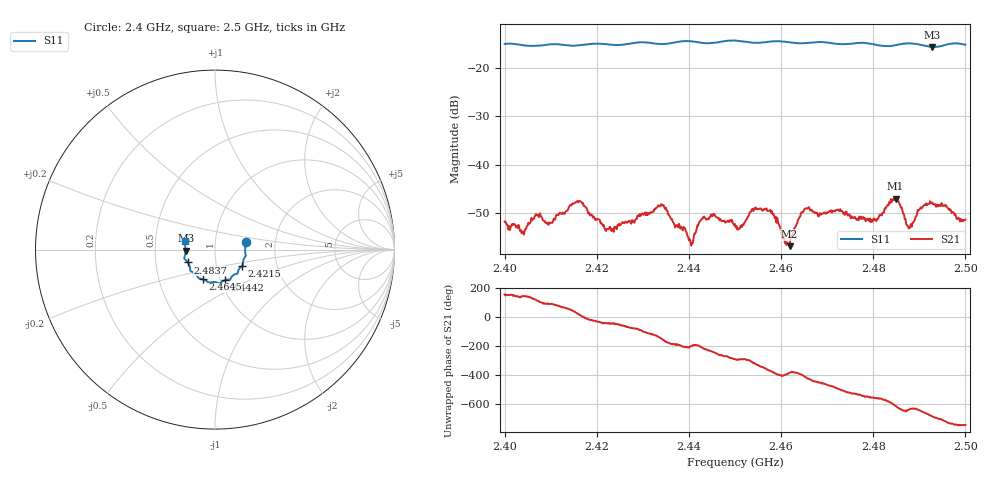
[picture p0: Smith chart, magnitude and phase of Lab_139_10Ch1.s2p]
# Hz S RI R 50
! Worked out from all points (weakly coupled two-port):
!   601 points, 2.4 GHz to 2.5 GHz, reference 50 ohm
!   highest |S21| = -47.06 dB at 2.4848 GHz (marker M1); lowest = -56.9 dB at 2.4618 GHz (marker M2)
!   lowest |S11| = -15.7 dB at 2.4928 GHz (marker M3), VSWR 1.39, Z = 35.9 - j0.388 ohm
!   |S11| at or under -10 dB: start of sweep to end of sweep
!   S12 and S22 are empty: the file has one direction only
!   S11 on the Smith chart (normalised r, x): 2.4 GHz: 1.41, +0.12; 2.4215 GHz: 1.33, -0.25; 2.4442 GHz: 1.05, -0.37; 2.4645 GHz: 0.83, -0.29; 2.4837 GHz: 0.73, -0.11; 2.5 GHz: 0.71, +0.07
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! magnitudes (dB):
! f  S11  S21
! 2.4 GHz  -15.1  -51.8
! 2.4038 GHz  -15.3  -54.0
! 2.4068 GHz  -15.5  -50.2
! 2.4098 GHz  -15.2  -52.2
! 2.4167 GHz  -15.3  -47.8
! 2.4215 GHz  -15.1  -52.5
! 2.4333 GHz  -15.1  -48.4
! 2.4405 GHz  -14.6  -56.7
! 2.4427 GHz  -14.9  -51.4
! 2.4442 GHz  -15.0  -51.1
! 2.45 GHz  -14.4  -52.3
! 2.4572 GHz  -14.7  -49.6
! 2.4618 GHz  -14.8  -56.9
! 2.4645 GHz  -15.0  -50.0
! 2.4667 GHz  -14.8  -49.4
! 2.48 GHz  -15.2  -51.3
! 2.4833 GHz  -15.6  -48.4
! 2.4837 GHz  -15.5  -48.0
! 2.4848 GHz  -15.4  -47.1
! 2.4878 GHz  -15.0  -53.2
! 2.4928 GHz  -15.7  -47.8
! 2.5 GHz  -15.3  -51.4
